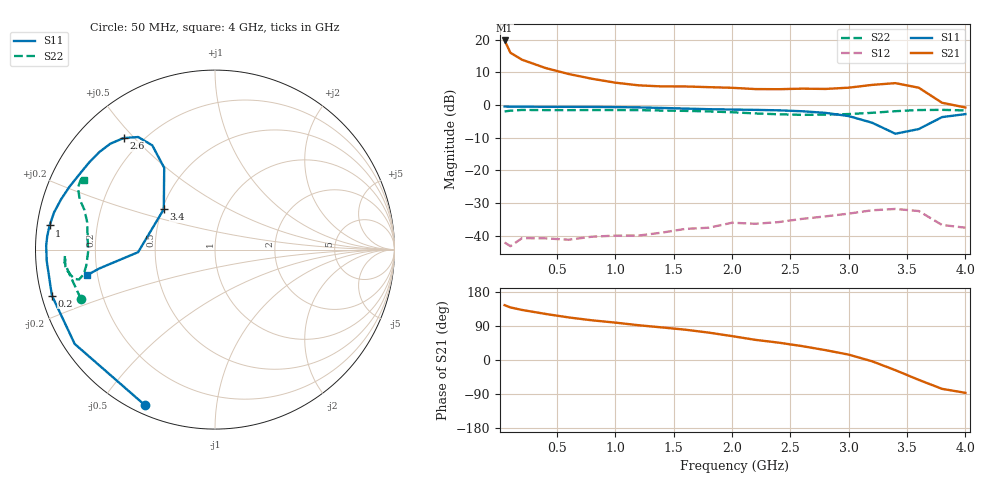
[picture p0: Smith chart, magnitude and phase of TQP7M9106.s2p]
! TQP7M9106 amplifier S-parameters, from datasheet.
# GHZ  S  DB  R  50.0
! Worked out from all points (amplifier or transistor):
!   22 points, 50 MHz to 4 GHz, reference 50 ohm
!   highest |S21| = 19.8 dB at 50 MHz (marker M1)
!   |S21| within 3 dB of that: start of sweep to 89.68 MHz
!   unconditionally stable (mu >= 1): 856 MHz to end of sweep
!   at 400 MHz: K = 0.92, MSG = 26.1 dB, |S12| = -40.8 dB
!   at 2 GHz: K = 1.61, MAG = 16.1 dB, |S12| = -36.0 dB
!   at 4 GHz: K = 6.32, MAG = 7.4 dB, |S12| = -37.6 dB
!   S11 on the Smith chart (normalised r, x): 50 MHz: 0.04, -0.65; 200 MHz: 0.03, -0.14; 1 GHz: 0.04, +0.07; 2.6 GHz: 0.13, +0.47; 3.4 GHz: 0.51, +0.26; 4 GHz: 0.16, -0.10
0.05  -0.44 -114.2  19.78 144.7  -42.10 39.1  -1.98 -159.9
0.1  -0.52 -146.1  16.00 138.7  -43.22 20.4  -1.71 -170.2
0.2  -0.50 -164.3  13.87 132.0  -40.75 6.8  -1.50 -175.1
0.4  -0.54 -176.2  11.35 121.6  -40.83 3.6  -1.55 -177.8
0.6  -0.53 178.7  9.50 112.3  -41.24 0.8  -1.56 -176.2
0.8  -0.56 175.2  8.04 104.7  -40.31 1.9  -1.53 -175.0
1  -0.62 171.7  6.85 98.6  -39.99 3.2  -1.53 -173.4
1.2  -0.72 167.1  6.03 91.7  -39.96 4.1  -1.56 -172.1
1.4  -0.89 162.0  5.70 85.9  -39.07 0.1  -1.69 -171.1
1.6  -1.08 156.6  5.69 80.0  -37.92 -5.5  -1.79 -169.7
1.8  -1.27 150.9  5.48 72.3  -37.57 -7.8  -1.95 -168.2
2  -1.38 145.5  5.28 63.0  -36.04 -20.2  -2.21 -167.6
2.2  -1.48 140.0  4.89 53.2  -36.36 -23.4  -2.57 -169.4
2.4  -1.62 134.7  4.85 45.8  -35.84 -33.5  -2.83 -173.1
2.6  -1.90 129.3  5.02 36.7  -34.86 -43.3  -3.01 -178.9
2.8  -2.39 124.3  4.93 26.1  -34.10 -48.6  -2.94 174.6
3  -3.38 121.0  5.32 14.2  -33.25 -62.7  -2.76 168.0
3.2  -5.41 121.8  6.17 -3.4  -32.23 -83.9  -2.38 163.1
3.4  -8.79 141.7  6.71 -26.9  -31.82 -110.3  -1.88 159.5
3.6  -7.36 -178.1  5.31 -52.4  -32.46 -138.2  -1.53 155.6
3.8  -3.69 -170.7  0.70 -76.1  -36.73 -172.0  -1.47 151.8
4  -2.78 -168.7  -0.74 -86.7  -37.56 176.7  -1.65 152.0
